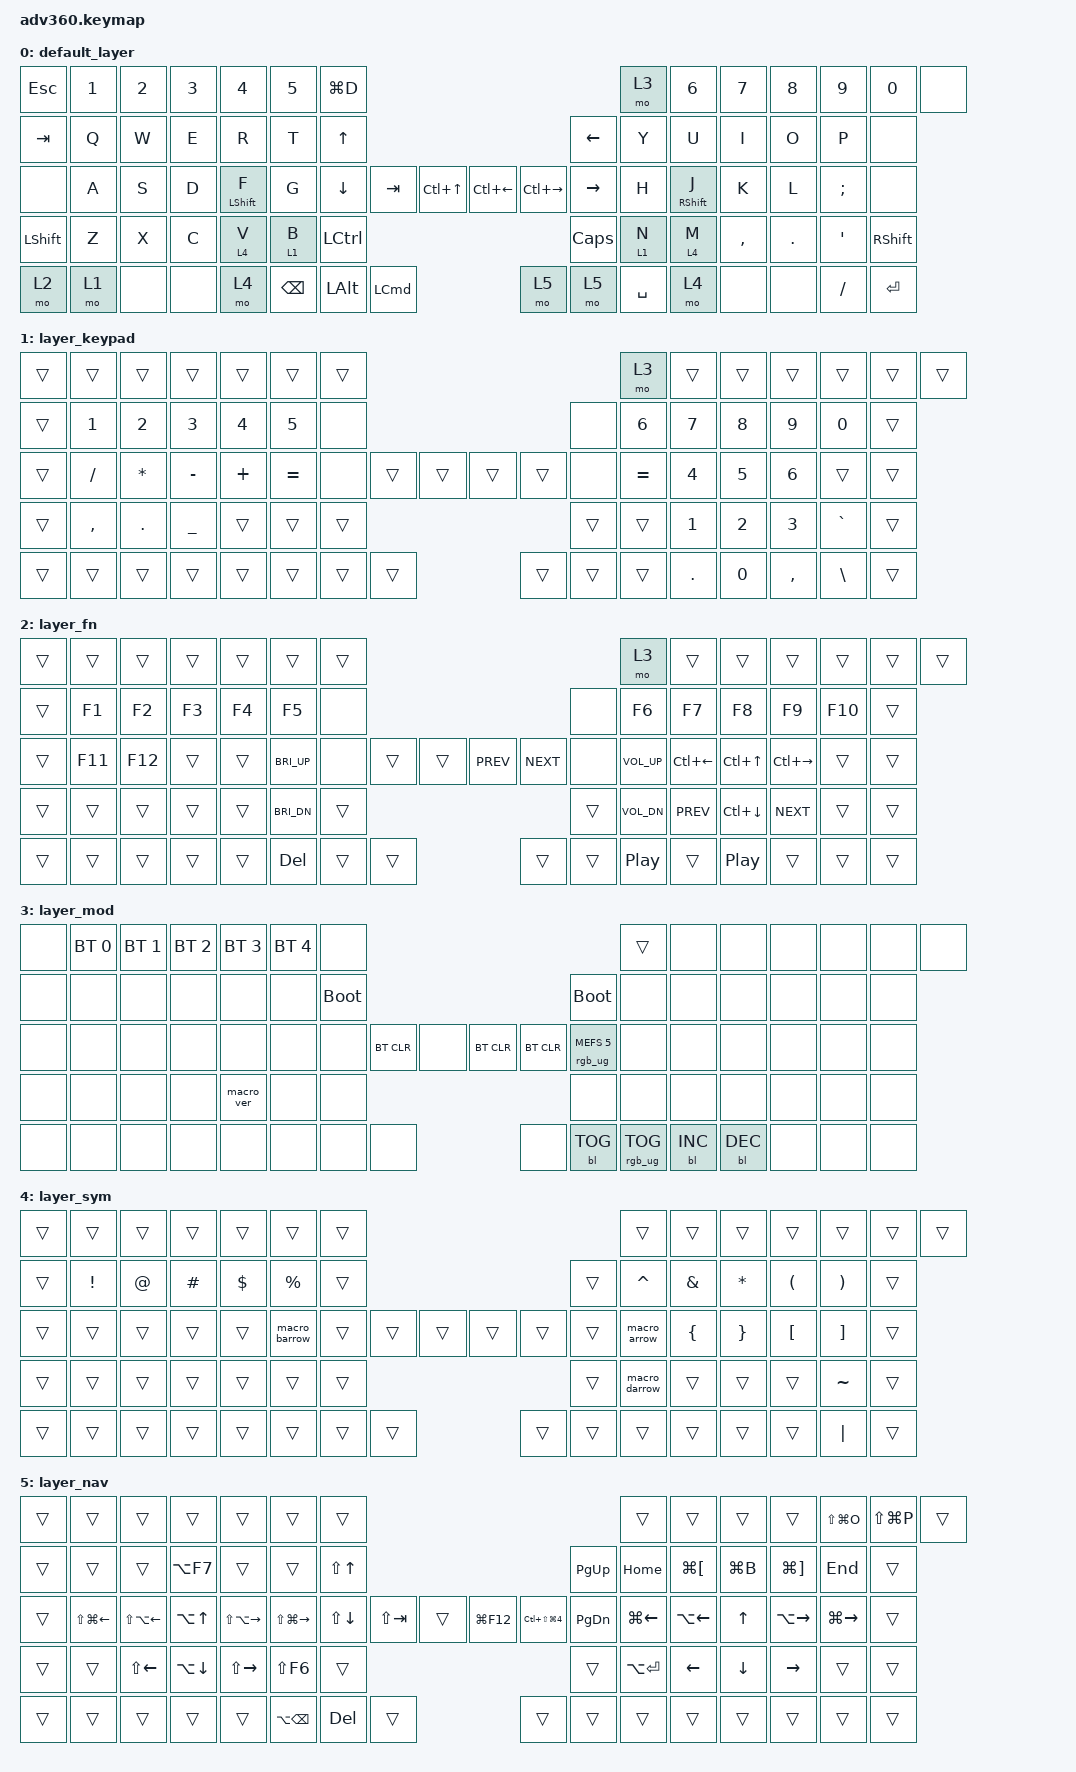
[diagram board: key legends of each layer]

/*
 * Copyright (c) 2020 The ZMK Contributors
 *
 * SPDX-License-Identifier: MIT
 */


/* THIS FILE WAS GENERATED!
 *
 * This file was generated automatically. You may or may not want to
 * edit it directly.
 */

#include <behaviors.dtsi>
#include <dt-bindings/zmk/keys.h>
#include <dt-bindings/zmk/bt.h>
#include <dt-bindings/zmk/rgb.h>
#include <dt-bindings/zmk/backlight.h>

/ {
  behaviors {
    #include "macros.dtsi"
    #include "version.dtsi"

    hm: homerow_mods {
        compatible = "zmk,behavior-hold-tap";
        label = "HOMEROW_MODS";
        #binding-cells = <2>;
        tapping-term-ms = <200>;
        quick_tap_ms = <175>;
        flavor = "tap-preferred";
        bindings = <&kp>, <&kp>;
    };
  };

    keymap {
        compatible = "zmk,keymap";


        default_layer {
            bindings = <
   &kp ESC  &kp N1  &kp N2  &kp N3       &kp N4   &kp N5            &kp LG(D)                                                                         &mo 3   &kp N6             &kp N7     &kp N8   &kp N9     &kp N0      &none
   &kp TAB   &kp Q   &kp W   &kp E        &kp R    &kp T               &kp UP                                                                      &kp LEFT    &kp Y              &kp U      &kp I    &kp O      &kp P      &none
     &none   &kp A   &kp S   &kp D  &mt LSHFT F    &kp G             &kp DOWN   &kp TAB  &kp LC(UP)                  &kp LC(LEFT)  &kp LC(RIGHT)  &kp RIGHT    &kp H  &mt RIGHT_SHIFT J      &kp K    &kp L   &kp SEMI      &none
 &kp LSHFT   &kp Z   &kp X   &kp C      &lt 4 V  &lt 1 B                                  &kp LCTRL                      &kp CAPS                            &lt 1 N            &lt 4 M  &kp COMMA  &kp DOT   &kp APOS  &kp RSHFT
     &mo 2   &mo 1   &none   &none        &mo 4                      &kp BSPC  &kp LALT    &kp LCMD                         &mo 5          &mo 5  &kp SPACE                       &mo 4      &none    &none  &kp SLASH  &kp ENTER
            >;
        };

        layer_keypad {
            bindings = <
 &trans     &trans        &trans     &trans    &trans     &trans            &trans                                                   &mo 3     &trans        &trans        &trans        &trans     &trans  &trans
 &trans     &kp N1        &kp N2     &kp N3    &kp N4     &kp N5             &none                                                   &none     &kp N6        &kp N7        &kp N8        &kp N9     &kp N0  &trans
 &trans  &kp SLASH  &kp ASTERISK  &kp MINUS  &kp PLUS  &kp EQUAL             &none  &trans  &trans                  &trans  &trans   &none  &kp EQUAL        &kp N4        &kp N5  &kp NUMBER_6     &trans  &trans
 &trans  &kp COMMA       &kp DOT  &kp UNDER    &trans     &trans                            &trans                  &trans                     &trans  &kp NUMBER_1  &kp NUMBER_2  &kp NUMBER_3  &kp GRAVE  &trans
 &trans     &trans        &trans     &trans    &trans                       &trans  &trans  &trans                  &trans  &trans  &trans                  &kp DOT  &kp NUMBER_0     &kp COMMA   &kp BSLH  &trans
            >;
        };

        layer_fn {
            bindings = <
 &trans   &trans   &trans  &trans  &trans        &trans             &trans                                                             &mo 3        &trans        &trans        &trans         &trans   &trans  &trans
 &trans   &kp F1   &kp F2  &kp F3  &kp F4        &kp F5              &none                                                             &none        &kp F6        &kp F7        &kp F8         &kp F9  &kp F10  &trans
 &trans  &kp F11  &kp F12  &trans  &trans  &kp C_BRI_UP              &none  &trans  &trans                  &kp C_PREV  &kp C_NEXT     &none  &kp C_VOL_UP  &kp LC(LEFT)    &kp LC(UP)  &kp LC(RIGHT)   &trans  &trans
 &trans   &trans   &trans  &trans  &trans  &kp C_BRI_DN                             &trans                      &trans                        &kp C_VOL_DN    &kp C_PREV  &kp LC(DOWN)     &kp C_NEXT   &trans  &trans
 &trans   &trans   &trans  &trans  &trans                          &kp DEL  &trans  &trans                      &trans      &trans  &kp C_PP                      &trans      &kp C_PP         &trans   &trans  &trans
            >;
        };

        layer_mod {
            bindings = <
  &none  &bt BT_SEL 0  &bt BT_SEL 1  &bt BT_SEL 2  &bt BT_SEL 3  &bt BT_SEL 4                  &none                                                                              &trans   &none       &none       &none   &none   &none   &none
  &none         &none         &none         &none         &none         &none            &bootloader                                                                         &bootloader   &none       &none       &none   &none   &none   &none
  &none         &none         &none         &none         &none         &none                  &none  &bt BT_CLR   &none                  &bt BT_CLR  &bt BT_CLR  &rgb_ug RGB_MEFS_CMD 5   &none       &none       &none   &none   &none   &none
  &none         &none         &none         &none    &macro_ver         &none                                      &none                       &none                                       &none       &none       &none   &none   &none   &none
  &none         &none         &none         &none         &none                                &none       &none   &none                       &none  &bl BL_TOG         &rgb_ug RGB_TOG          &bl BL_INC  &bl BL_DEC   &none   &none   &none
            >;
        };

        layer_sym {
            bindings = <
 &trans    &trans  &trans    &trans    &trans         &trans            &trans                                                  &trans         &trans          &trans           &trans                &trans                 &trans  &trans
 &trans  &kp EXCL  &kp AT  &kp HASH  &kp DLLR      &kp PRCNT            &trans                                                  &trans      &kp CARET        &kp AMPS         &kp STAR  &kp LEFT_PARENTHESIS  &kp RIGHT_PARENTHESIS  &trans
 &trans    &trans  &trans    &trans    &trans  &macro_barrow            &trans  &trans  &trans                  &trans  &trans  &trans   &macro_arrow  &kp LEFT_BRACE  &kp RIGHT_BRACE      &kp LEFT_BRACKET      &kp RIGHT_BRACKET  &trans
 &trans    &trans  &trans    &trans    &trans         &trans                            &trans                  &trans                  &macro_darrow          &trans           &trans                &trans              &kp TILDE  &trans
 &trans    &trans  &trans    &trans    &trans                           &trans  &trans  &trans                  &trans  &trans  &trans                         &trans           &trans                &trans               &kp PIPE  &trans
            >;
        };

        layer_nav {
            bindings = <
 &trans            &trans            &trans        &trans             &trans             &trans                  &trans                                                                               &trans         &trans                &trans     &trans          &kp LS(LG(O))  &kp LS(LG(P))  &trans
 &trans            &trans            &trans    &kp LA(F7)             &trans             &trans              &kp LS(UP)                                                                          &kp PAGE_UP       &kp HOME  &kp LG(LEFT_BRACKET)  &kp LG(B)  &kp LG(RIGHT_BRACKET)        &kp END  &trans
 &trans  &kp LS(LG(LEFT))  &kp LS(LA(LEFT))    &kp LA(UP)  &kp LS(LA(RIGHT))  &kp LS(LG(RIGHT))            &kp LS(DOWN)  &kp LS(TAB)  &trans                  &kp LG(F12)  &kp LC(LS(LG(N4)))  &kp PAGE_DOWN   &kp LG(LEFT)          &kp LA(LEFT)     &kp UP          &kp LA(RIGHT)  &kp LG(RIGHT)  &trans
 &trans            &trans      &kp LS(LEFT)  &kp LA(DOWN)      &kp LS(RIGHT)         &kp LS(F6)                                       &trans                       &trans                                     &kp LA(ENTER)              &kp LEFT   &kp DOWN              &kp RIGHT         &trans  &trans
 &trans            &trans            &trans        &trans             &trans                               &kp LA(BSPC)      &kp DEL  &trans                       &trans              &trans         &trans                               &trans     &trans                 &trans         &trans  &trans
            >;
        };

    };
};
